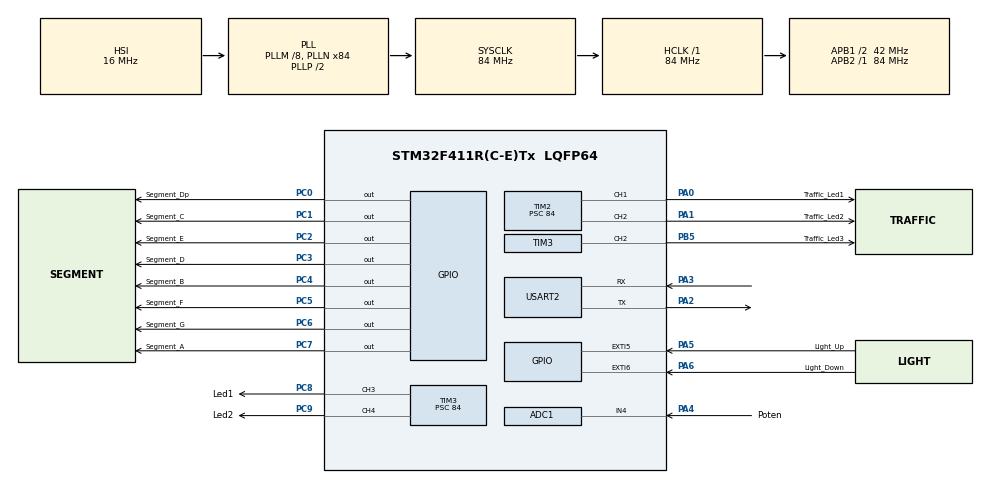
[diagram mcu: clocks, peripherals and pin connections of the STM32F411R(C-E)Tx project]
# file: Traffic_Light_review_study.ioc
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ADC1.Channel-0\#ChannelRegularConversion=ADC_CHANNEL_4
ADC1.Channel-1\#ChannelRegularConversion=ADC_CHANNEL_4
ADC1.InjNumberOfConversion=0
ADC1.NbrOfConversion=2
ADC1.NbrOfConversionFlag=1
ADC1.Rank-0\#ChannelRegularConversion=1
ADC1.Rank-1\#ChannelRegularConversion=2
ADC1.SamplingTime-0\#ChannelRegularConversion=ADC_SAMPLETIME_3CYCLES
ADC1.SamplingTime-1\#ChannelRegularConversion=ADC_SAMPLETIME_3CYCLES
ADC1.master=1
Mcu.Family=STM32F4
Mcu.Name=STM32F411R(C-E)Tx
Mcu.Package=LQFP64
NVIC.ADC_IRQn=true\:0\:0\:false\:false\:true\:true\:true\:true
NVIC.EXTI9_5_IRQn=true\:0\:0\:false\:false\:true\:true\:true\:true
NVIC.PriorityGroup=NVIC_PRIORITYGROUP_4
NVIC.TIM2_IRQn=true\:0\:0\:false\:false\:true\:true\:true\:true
NVIC.TIM3_IRQn=true\:0\:0\:false\:false\:true\:true\:true\:true
PA0-WKUP.GPIO_Label=Traffic_Led1
PA0-WKUP.Signal=S_TIM2_CH1_ETR
PA1.GPIO_Label=Traffic_Led2
PA1.Signal=S_TIM2_CH2
PA2.Mode=Asynchronous
PA2.Signal=USART2_TX
PA3.Mode=Asynchronous
PA3.Signal=USART2_RX
PA4.GPIO_Label=Poten
PA4.Signal=ADCx_IN4
PA5.GPIO_Label=Light_Up
PA5.GPIO_ModeDefaultEXTI=GPIO_MODE_IT_FALLING
PA5.GPIO_PuPd=GPIO_PULLUP
PA5.Signal=GPXTI5
PA6.GPIO_Label=Light_Down
PA6.GPIO_ModeDefaultEXTI=GPIO_MODE_IT_FALLING
PA6.GPIO_PuPd=GPIO_PULLUP
PA6.Signal=GPXTI6
PA7.GPIO_Label=Illu
PA7.Signal=ADCx_IN7
PB5.GPIO_Label=Traffic_Led3
PB5.Signal=S_TIM3_CH2
PC0.GPIO_Label=Segment_Dp
PC0.Signal=GPIO_Output
PC1.GPIO_Label=Segment_C
PC1.Signal=GPIO_Output
PC2.GPIO_Label=Segment_E
PC2.Signal=GPIO_Output
PC3.GPIO_Label=Segment_D
PC3.Signal=GPIO_Output
PC4.GPIO_Label=Segment_B
PC4.GPIO_ModeDefaultOutputPP=GPIO_MODE_OUTPUT_PP
PC4.GPIO_PuPd=GPIO_NOPULL
PC4.GPIO_Speed=GPIO_SPEED_FREQ_LOW
PC4.PinState=GPIO_PIN_RESET
PC4.Signal=GPIO_Output
PC5.GPIO_Label=Segment_F
PC5.Signal=GPIO_Output
PC6.GPIO_Label=Segment_G
PC6.Signal=GPIO_Output
PC7.GPIO_Label=Segment_A
PC7.Signal=GPIO_Output
PC8.GPIO_Label=Led1
PC8.Signal=S_TIM3_CH3
PC9.GPIO_Label=Led2
PC9.Signal=S_TIM3_CH4
ProjectManager.HeapSize=0x200
ProjectManager.StackSize=0x400
ProjectManager.TargetToolchain=STM32CubeIDE
RCC.48MHZClocksFreq_Value=42000000
RCC.AHBFreq_Value=84000000
RCC.APB1CLKDivider=RCC_HCLK_DIV2
RCC.APB1Freq_Value=42000000
RCC.APB1TimFreq_Value=84000000
RCC.APB2Freq_Value=84000000
RCC.APB2TimFreq_Value=84000000
RCC.CortexFreq_Value=84000000
RCC.HCLKFreq_Value=84000000
RCC.HSE_VALUE=25000000
RCC.HSI_VALUE=16000000
RCC.LSE_VALUE=32768
RCC.PLLM=8
RCC.PLLN=84
RCC.SYSCLKFreq_VALUE=84000000
RCC.SYSCLKSource=RCC_SYSCLKSOURCE_PLLCLK
RCC.VCOOutputFreq_Value=168000000
SH.ADCx_IN4.0=ADC1_IN4,IN4
SH.ADCx_IN7.0=ADC1_IN7
SH.S_TIM2_CH1_ETR.0=TIM2_CH1,PWM Generation1 CH1
SH.S_TIM2_CH2.0=TIM2_CH2,PWM Generation2 CH2
SH.S_TIM3_CH2.0=TIM3_CH2,PWM Generation2 CH2
SH.S_TIM3_CH3.0=TIM3_CH3,PWM Generation3 CH3
SH.S_TIM3_CH4.0=TIM3_CH4,PWM Generation4 CH4
TIM2.AutoReloadPreload=TIM_AUTORELOAD_PRELOAD_ENABLE
TIM2.Channel-PWM\ Generation1\ CH1=TIM_CHANNEL_1
TIM2.Channel-PWM\ Generation2\ CH2=TIM_CHANNEL_2
TIM2.CounterMode=TIM_COUNTERMODE_UP
TIM2.Period=1000
TIM2.Prescaler=84
TIM2.Pulse-PWM\ Generation1\ CH1=500-1
TIM2.Pulse-PWM\ Generation2\ CH2=500-1
TIM3.AutoReloadPreload=TIM_AUTORELOAD_PRELOAD_ENABLE
TIM3.Channel-PWM\ Generation2\ CH2=TIM_CHANNEL_2
TIM3.Channel-PWM\ Generation3\ CH3=TIM_CHANNEL_3
TIM3.Channel-PWM\ Generation4\ CH4=TIM_CHANNEL_4
TIM3.Period=1000
TIM3.Prescaler=84
TIM3.Pulse-PWM\ Generation2\ CH2=500-1
TIM3.Pulse-PWM\ Generation3\ CH3=500-1
TIM3.Pulse-PWM\ Generation4\ CH4=500-1
USART2.VirtualMode=VM_ASYNC
VP_TIM2_VS_ClockSourceINT.Mode=Internal
VP_TIM3_VS_ClockSourceINT.Mode=Internal
board=custom

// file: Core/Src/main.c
/* USER CODE BEGIN Header */
/**
  ******************************************************************************
  * @file           : main.c
  * @brief          : Main program body
  ******************************************************************************
  * @attention
  *
  * Copyright (c) 2025 STMicroelectronics.
  * All rights reserved.
  *
  * This software is licensed under terms that can be found in the LICENSE file
  * in the root directory of this software component.
  * If no LICENSE file comes with this software, it is provided AS-IS.
  *
  ******************************************************************************
  */
/* USER CODE END Header */
#include "main.h"

/* USER CODE BEGIN Includes */
#include <stdio.h>
/* USER CODE END Includes */

/* USER CODE BEGIN PD */
#ifdef __GNUC__
/* With GCC, small printf (option LD Linker->Libraries->Small printf
   set to 'Yes') calls __io_putchar() */
#define PUTCHAR_PROTOTYPE int __io_putchar(int ch)
#else
#define PUTCHAR_PROTOTYPE int fputc(int ch, FILE *f)
#endif /* __GNUC__ */
/* USER CODE END PD */

ADC_HandleTypeDef hadc1;

TIM_HandleTypeDef htim2;
TIM_HandleTypeDef htim3;

UART_HandleTypeDef huart2;

/* USER CODE BEGIN PV */
volatile unsigned int time3Cnt = 0;
volatile unsigned int time2Cnt = 0;
volatile uint8_t stateFlag = 0;
volatile uint8_t SegmentFlag = 10;
volatile uint8_t resetSegmentFlag = 0;
volatile uint8_t btn_flag = 0;

uint32_t pulse = 1000;
/* USER CODE END PV */

void SystemClock_Config(void);
static void MX_GPIO_Init(void);
static void MX_ADC1_Init(void);
static void MX_TIM2_Init(void);
static void MX_TIM3_Init(void);
static void MX_USART2_UART_Init(void);

int main(void)
{

  /* MCU Configuration--------------------------------------------------------*/

  /* Reset of all peripherals, Initializes the Flash interface and the Systick. */
  HAL_Init();

  /* Configure the system clock */
  SystemClock_Config();

  /* Initialize all configured peripherals */
  MX_GPIO_Init();
  MX_ADC1_Init();
  MX_TIM2_Init();
  MX_TIM3_Init();
  MX_USART2_UART_Init();
  /* USER CODE BEGIN 2 */
  if(HAL_TIM_Base_Start_IT(&htim2) != HAL_OK)
      Error_Handler();
  if(HAL_TIM_Base_Start_IT(&htim3) != HAL_OK)
    Error_Handler();

  HAL_TIM_PWM_Start(&htim2, TIM_CHANNEL_1);
  HAL_TIM_PWM_Start(&htim2, TIM_CHANNEL_2);
  HAL_TIM_PWM_Start(&htim3, TIM_CHANNEL_2);
  HAL_TIM_PWM_Start(&htim3, TIM_CHANNEL_3);
  HAL_TIM_PWM_Start(&htim3, TIM_CHANNEL_4);

  HAL_ADC_Start_IT(&hadc1);

  printf("Start main()!!\r\n");

  /* USER CODE END 2 */

  /* Infinite loop */
  while (1)
  {

    /* USER CODE BEGIN 3 */
	  switch(stateFlag)
	  {
	  	  case 1: // 0~19s: 교통 Green ON, 보행자 Red ON
	  		  __HAL_TIM_SetCompare(&htim2, TIM_CHANNEL_1, pulse); // Green ON
	  		  __HAL_TIM_SetCompare(&htim2, TIM_CHANNEL_2, 0);   // Yellow OFF
	  		  __HAL_TIM_SetCompare(&htim3, TIM_CHANNEL_2, 0);   // Traffic Red OFF
	  		  __HAL_TIM_SetCompare(&htim3, TIM_CHANNEL_3, 0);   // Ped Green OFF
	  		  __HAL_TIM_SetCompare(&htim3, TIM_CHANNEL_4, pulse); // Ped Red ON
	          break;

	  	  case 2: // 19~20s: 교통 Green OFF, Yellow ON
	  		  __HAL_TIM_SetCompare(&htim2, TIM_CHANNEL_1, 0);   // Green OFF
	  		  __HAL_TIM_SetCompare(&htim2, TIM_CHANNEL_2, pulse); // Yellow ON
	  		  break;

	      case 3: // 20~27s: 교통 Red ON, 보행자 Green ON
	    	  __HAL_TIM_SetCompare(&htim2, TIM_CHANNEL_2, 0);   // Yellow OFF
	    	  __HAL_TIM_SetCompare(&htim3, TIM_CHANNEL_2, pulse); // Traffic Red ON
	    	  __HAL_TIM_SetCompare(&htim3, TIM_CHANNEL_3, pulse); // Ped Green ON
	    	  __HAL_TIM_SetCompare(&htim3, TIM_CHANNEL_4, 0);   // Ped Red OFF
	    	  break;

	      case 4: // 27~30s: 보행자 Green 점멸
	          if((time3Cnt % 1000) < 500)
	        	  __HAL_TIM_SetCompare(&htim3, TIM_CHANNEL_3, pulse); // ON
	          else
	        	  __HAL_TIM_SetCompare(&htim3, TIM_CHANNEL_3, 0);   // OFF
	              break;

	      case 5: // 30s: 초기 상태로 복귀
	    	  __HAL_TIM_SetCompare(&htim3, TIM_CHANNEL_3, 0);   // Ped Green OFF
	    	  __HAL_TIM_SetCompare(&htim3, TIM_CHANNEL_4, pulse); // Ped Red ON
	    	  __HAL_TIM_SetCompare(&htim3, TIM_CHANNEL_2, 0);   // Traffic Red OFF
	    	  __HAL_TIM_SetCompare(&htim2, TIM_CHANNEL_1, pulse); // Traffic Green ON
	          break;
	  }
	  switch(btn_flag)
	  {
	  	  case 1:
	  		if(pulse <= 900)
	  		{
	  			pulse += 100;   // 최대값 제한 필요하면 추가
	  			printf("btn2_pulse : %d\r\n\n",pulse);
	  			btn_flag = 0;  // 플래그 클리어
	  		}
	  		break;
	  	  case 2:
	  		if (pulse >= 100)
	  		{
	  			pulse -= 100;  // 음수 방지
	  			printf("btn1_pulse : %d\r\n\n",pulse);
	  			btn_flag = 0;  // 플래그 클리어
	  		}
	  		break;
	  }
	  if(resetSegmentFlag)
	  {
		  HAL_GPIO_WritePin(GPIOC, Segment_Dp_Pin|Segment_C_Pin|Segment_E_Pin|Segment_D_Pin
		                            |Segment_B_Pin|Segment_F_Pin|Segment_G_Pin|Segment_A_Pin, GPIO_PIN_RESET);
		  resetSegmentFlag = 0;
	  }
	  switch(SegmentFlag)
	  {
	  	  case 1:
	  		  HAL_GPIO_WritePin(GPIOC, Segment_C_Pin|Segment_B_Pin, GPIO_PIN_SET);
	  		  break;
	  	  case 2:
	  		  HAL_GPIO_WritePin(GPIOC, Segment_A_Pin|Segment_B_Pin|Segment_G_Pin|Segment_E_Pin|Segment_D_Pin, GPIO_PIN_SET);
	  		  break;
	  	  case 3:
	  		  HAL_GPIO_WritePin(GPIOC, Segment_A_Pin|Segment_B_Pin|Segment_G_Pin|Segment_C_Pin|Segment_D_Pin, GPIO_PIN_SET);
	  		  break;
	  	  case 4:
	  		  HAL_GPIO_WritePin(GPIOC, Segment_F_Pin|Segment_B_Pin|Segment_G_Pin|Segment_C_Pin, GPIO_PIN_SET);
	  		  break;
	  	  case 5:
	  		  HAL_GPIO_WritePin(GPIOC, Segment_A_Pin|Segment_F_Pin|Segment_G_Pin|Segment_C_Pin|Segment_D_Pin, GPIO_PIN_SET);
	  		  break;
	  	  case 6:
	  		  HAL_GPIO_WritePin(GPIOC, Segment_A_Pin|Segment_F_Pin|Segment_G_Pin|Segment_E_Pin|Segment_C_Pin|Segment_D_Pin, GPIO_PIN_SET);
	  		  break;
	  	  case 7:
	  		  HAL_GPIO_WritePin(GPIOC, Segment_F_Pin|Segment_A_Pin|Segment_B_Pin|Segment_C_Pin, GPIO_PIN_SET);
	  		  break;
	  	  case 8:
	  		  HAL_GPIO_WritePin(GPIOC, Segment_A_Pin|Segment_B_Pin|Segment_G_Pin|Segment_F_Pin|Segment_E_Pin|Segment_C_Pin|Segment_D_Pin, GPIO_PIN_SET);
	  		  break;
	  	  case 9:
	  		  HAL_GPIO_WritePin(GPIOC, Segment_A_Pin|Segment_B_Pin|Segment_G_Pin|Segment_F_Pin|Segment_C_Pin|Segment_D_Pin, GPIO_PIN_SET);
	  		  break;
	  	  case 10:
	  		  HAL_GPIO_WritePin(GPIOC, Segment_A_Pin|Segment_B_Pin|Segment_F_Pin|Segment_E_Pin|Segment_C_Pin|Segment_D_Pin, GPIO_PIN_SET);
	  		  break;

	  }

  }
  /* USER CODE END 3 */
}

void SystemClock_Config(void)
{
  RCC_OscInitTypeDef RCC_OscInitStruct = {0};
  RCC_ClkInitTypeDef RCC_ClkInitStruct = {0};

  /** Configure the main internal regulator output voltage
  */
  __HAL_RCC_PWR_CLK_ENABLE();
  __HAL_PWR_VOLTAGESCALING_CONFIG(PWR_REGULATOR_VOLTAGE_SCALE1);

  /** Initializes the RCC Oscillators according to the specified parameters
  * in the RCC_OscInitTypeDef structure.
  */
  RCC_OscInitStruct.OscillatorType = RCC_OSCILLATORTYPE_HSI;
  RCC_OscInitStruct.HSIState = RCC_HSI_ON;
  RCC_OscInitStruct.HSICalibrationValue = RCC_HSICALIBRATION_DEFAULT;
  RCC_OscInitStruct.PLL.PLLState = RCC_PLL_ON;
  RCC_OscInitStruct.PLL.PLLSource = RCC_PLLSOURCE_HSI;
  RCC_OscInitStruct.PLL.PLLM = 8;
  RCC_OscInitStruct.PLL.PLLN = 84;
  RCC_OscInitStruct.PLL.PLLP = RCC_PLLP_DIV2;
  RCC_OscInitStruct.PLL.PLLQ = 4;
  if (HAL_RCC_OscConfig(&RCC_OscInitStruct) != HAL_OK)
  {
    Error_Handler();
  }

  /** Initializes the CPU, AHB and APB buses clocks
  */
  RCC_ClkInitStruct.ClockType = RCC_CLOCKTYPE_HCLK|RCC_CLOCKTYPE_SYSCLK
                              |RCC_CLOCKTYPE_PCLK1|RCC_CLOCKTYPE_PCLK2;
  RCC_ClkInitStruct.SYSCLKSource = RCC_SYSCLKSOURCE_PLLCLK;
  RCC_ClkInitStruct.AHBCLKDivider = RCC_SYSCLK_DIV1;
  RCC_ClkInitStruct.APB1CLKDivider = RCC_HCLK_DIV2;
  RCC_ClkInitStruct.APB2CLKDivider = RCC_HCLK_DIV1;

  if (HAL_RCC_ClockConfig(&RCC_ClkInitStruct, FLASH_LATENCY_2) != HAL_OK)
  {
    Error_Handler();
  }
}

static void MX_ADC1_Init(void)
{

  ADC_ChannelConfTypeDef sConfig = {0};

  /** Configure the global features of the ADC (Clock, Resolution, Data Alignment and number of conversion)
  */
  hadc1.Instance = ADC1;
  hadc1.Init.ClockPrescaler = ADC_CLOCK_SYNC_PCLK_DIV4;
  hadc1.Init.Resolution = ADC_RESOLUTION_12B;
  hadc1.Init.ScanConvMode = ENABLE;
  hadc1.Init.ContinuousConvMode = DISABLE;
  hadc1.Init.DiscontinuousConvMode = DISABLE;
  hadc1.Init.ExternalTrigConvEdge = ADC_EXTERNALTRIGCONVEDGE_NONE;
  hadc1.Init.ExternalTrigConv = ADC_SOFTWARE_START;
  hadc1.Init.DataAlign = ADC_DATAALIGN_RIGHT;
  hadc1.Init.NbrOfConversion = 2;
  hadc1.Init.DMAContinuousRequests = DISABLE;
  hadc1.Init.EOCSelection = ADC_EOC_SINGLE_CONV;
  if (HAL_ADC_Init(&hadc1) != HAL_OK)
  {
    Error_Handler();
  }

  /** Configure for the selected ADC regular channel its corresponding rank in the sequencer and its sample time.
  */
  sConfig.Channel = ADC_CHANNEL_4;
  sConfig.Rank = 1;
  sConfig.SamplingTime = ADC_SAMPLETIME_3CYCLES;
  if (HAL_ADC_ConfigChannel(&hadc1, &sConfig) != HAL_OK)
  {
    Error_Handler();
  }

  /** Configure for the selected ADC regular channel its corresponding rank in the sequencer and its sample time.
  */
  sConfig.Rank = 2;
  if (HAL_ADC_ConfigChannel(&hadc1, &sConfig) != HAL_OK)
  {
    Error_Handler();
  }

}

static void MX_TIM2_Init(void)
{

  TIM_ClockConfigTypeDef sClockSourceConfig = {0};
  TIM_MasterConfigTypeDef sMasterConfig = {0};
  TIM_OC_InitTypeDef sConfigOC = {0};

  htim2.Instance = TIM2;
  htim2.Init.Prescaler = 84;
  htim2.Init.CounterMode = TIM_COUNTERMODE_UP;
  htim2.Init.Period = 1000;
  htim2.Init.ClockDivision = TIM_CLOCKDIVISION_DIV1;
  htim2.Init.AutoReloadPreload = TIM_AUTORELOAD_PRELOAD_ENABLE;
  if (HAL_TIM_Base_Init(&htim2) != HAL_OK)
  {
    Error_Handler();
  }
  sClockSourceConfig.ClockSource = TIM_CLOCKSOURCE_INTERNAL;
  if (HAL_TIM_ConfigClockSource(&htim2, &sClockSourceConfig) != HAL_OK)
  {
    Error_Handler();
  }
  if (HAL_TIM_PWM_Init(&htim2) != HAL_OK)
  {
    Error_Handler();
  }
  sMasterConfig.MasterOutputTrigger = TIM_TRGO_RESET;
  sMasterConfig.MasterSlaveMode = TIM_MASTERSLAVEMODE_DISABLE;
  if (HAL_TIMEx_MasterConfigSynchronization(&htim2, &sMasterConfig) != HAL_OK)
  {
    Error_Handler();
  }
  sConfigOC.OCMode = TIM_OCMODE_PWM1;
  sConfigOC.Pulse = 500-1;
  sConfigOC.OCPolarity = TIM_OCPOLARITY_HIGH;
  sConfigOC.OCFastMode = TIM_OCFAST_DISABLE;
  if (HAL_TIM_PWM_ConfigChannel(&htim2, &sConfigOC, TIM_CHANNEL_1) != HAL_OK)
  {
    Error_Handler();
  }
  if (HAL_TIM_PWM_ConfigChannel(&htim2, &sConfigOC, TIM_CHANNEL_2) != HAL_OK)
  {
    Error_Handler();
  }
  HAL_TIM_MspPostInit(&htim2);

}

static void MX_TIM3_Init(void)
{

  TIM_ClockConfigTypeDef sClockSourceConfig = {0};
  TIM_MasterConfigTypeDef sMasterConfig = {0};
  TIM_OC_InitTypeDef sConfigOC = {0};

  htim3.Instance = TIM3;
  htim3.Init.Prescaler = 84;
  htim3.Init.CounterMode = TIM_COUNTERMODE_UP;
  htim3.Init.Period = 1000;
  htim3.Init.ClockDivision = TIM_CLOCKDIVISION_DIV1;
  htim3.Init.AutoReloadPreload = TIM_AUTORELOAD_PRELOAD_ENABLE;
  if (HAL_TIM_Base_Init(&htim3) != HAL_OK)
  {
    Error_Handler();
  }
  sClockSourceConfig.ClockSource = TIM_CLOCKSOURCE_INTERNAL;
  if (HAL_TIM_ConfigClockSource(&htim3, &sClockSourceConfig) != HAL_OK)
  {
    Error_Handler();
  }
  if (HAL_TIM_PWM_Init(&htim3) != HAL_OK)
  {
    Error_Handler();
  }
  sMasterConfig.MasterOutputTrigger = TIM_TRGO_RESET;
  sMasterConfig.MasterSlaveMode = TIM_MASTERSLAVEMODE_DISABLE;
  if (HAL_TIMEx_MasterConfigSynchronization(&htim3, &sMasterConfig) != HAL_OK)
  {
    Error_Handler();
  }
  sConfigOC.OCMode = TIM_OCMODE_PWM1;
  sConfigOC.Pulse = 500-1;
  sConfigOC.OCPolarity = TIM_OCPOLARITY_HIGH;
  sConfigOC.OCFastMode = TIM_OCFAST_DISABLE;
  if (HAL_TIM_PWM_ConfigChannel(&htim3, &sConfigOC, TIM_CHANNEL_2) != HAL_OK)
  {
    Error_Handler();
  }
  if (HAL_TIM_PWM_ConfigChannel(&htim3, &sConfigOC, TIM_CHANNEL_3) != HAL_OK)
  {
    Error_Handler();
  }
  if (HAL_TIM_PWM_ConfigChannel(&htim3, &sConfigOC, TIM_CHANNEL_4) != HAL_OK)
  {
    Error_Handler();
  }
  HAL_TIM_MspPostInit(&htim3);

}

static void MX_USART2_UART_Init(void)
{

  huart2.Instance = USART2;
  huart2.Init.BaudRate = 115200;
  huart2.Init.WordLength = UART_WORDLENGTH_8B;
  huart2.Init.StopBits = UART_STOPBITS_1;
  huart2.Init.Parity = UART_PARITY_NONE;
  huart2.Init.Mode = UART_MODE_TX_RX;
  huart2.Init.HwFlowCtl = UART_HWCONTROL_NONE;
  huart2.Init.OverSampling = UART_OVERSAMPLING_16;
  if (HAL_UART_Init(&huart2) != HAL_OK)
  {
    Error_Handler();
  }

}

static void MX_GPIO_Init(void)
{
  GPIO_InitTypeDef GPIO_InitStruct = {0};

  /* GPIO Ports Clock Enable */
  __HAL_RCC_GPIOC_CLK_ENABLE();
  __HAL_RCC_GPIOA_CLK_ENABLE();
  __HAL_RCC_GPIOB_CLK_ENABLE();

  /*Configure GPIO pin Output Level */
  HAL_GPIO_WritePin(GPIOC, Segment_Dp_Pin|Segment_C_Pin|Segment_E_Pin|Segment_D_Pin
                          |Segment_B_Pin|Segment_F_Pin|Segment_G_Pin|Segment_A_Pin, GPIO_PIN_RESET);

  /*Configure GPIO pins : Segment_Dp_Pin Segment_C_Pin Segment_E_Pin Segment_D_Pin
                           Segment_B_Pin Segment_F_Pin Segment_G_Pin Segment_A_Pin */
  GPIO_InitStruct.Pin = Segment_Dp_Pin|Segment_C_Pin|Segment_E_Pin|Segment_D_Pin
                          |Segment_B_Pin|Segment_F_Pin|Segment_G_Pin|Segment_A_Pin;
  GPIO_InitStruct.Mode = GPIO_MODE_OUTPUT_PP;
  GPIO_InitStruct.Pull = GPIO_NOPULL;
  GPIO_InitStruct.Speed = GPIO_SPEED_FREQ_LOW;
  HAL_GPIO_Init(GPIOC, &GPIO_InitStruct);

  /*Configure GPIO pins : Light_Up_Pin Light_Down_Pin */
  GPIO_InitStruct.Pin = Light_Up_Pin|Light_Down_Pin;
  GPIO_InitStruct.Mode = GPIO_MODE_IT_FALLING;
  GPIO_InitStruct.Pull = GPIO_PULLUP;
  HAL_GPIO_Init(GPIOA, &GPIO_InitStruct);

  /* EXTI interrupt init*/
  HAL_NVIC_SetPriority(EXTI9_5_IRQn, 0, 0);
  HAL_NVIC_EnableIRQ(EXTI9_5_IRQn);

}

/* USER CODE BEGIN 4 */
PUTCHAR_PROTOTYPE
{
  /* Place your implementation of fputc here */
  /* e.g. write a character to the USART6 and Loop until the end of transmission */
  HAL_UART_Transmit(&huart2, (uint8_t *)&ch, 1, 0xFFFF);

  return ch;
}

void HAL_TIM_PeriodElapsedCallback(TIM_HandleTypeDef *htim)
{

	if(htim->Instance == TIM3)
	    {
	        time3Cnt++;

	        if(time3Cnt <= 19000-1) // 0 ~ 19Sec
	            stateFlag = 1;
	        else if(time3Cnt >= 19000-1 && time3Cnt <= 20000-1) // 19 ~ 20Sec
	            stateFlag = 2;
	        else if(time3Cnt >= 20000-1 && time3Cnt <= 27000-1) // 20 ~ 27Sec
	            stateFlag = 3;
	        else if(time3Cnt >= 27000-1 && time3Cnt <= 30000-1) // 27 ~ 30Sec
	            stateFlag = 4;
	        else if(time3Cnt >= 30000-1)
	        {
	            time3Cnt = 0;
	            stateFlag = 5;
	        }
	    }
	else if(htim->Instance == TIM2)
	{
		time2Cnt++;
		if(time2Cnt >= 1000)
		{
			time2Cnt = 0;
			SegmentFlag--;
			resetSegmentFlag = 1;
			if(SegmentFlag < 1) SegmentFlag = 10;
		}
	}
}

void HAL_GPIO_EXTI_Callback(uint16_t GPIO_Pin)
{
    if (GPIO_Pin == Light_Up_Pin) {
        btn_flag = 1;   // 버튼1 눌림
    }
    else if (GPIO_Pin == Light_Down_Pin) {
        btn_flag = 2;   // 버튼2 눌림
    }
}

void HAL_ADC_ConvCpltCallback(ADC_HandleTypeDef* hadc)
{
    if(hadc->Instance == ADC1)
    {
        uint32_t adc_val = HAL_ADC_GetValue(hadc);
        pulse = (adc_val * (1000 - 100) / 4095) + 100;
    }
}
/* USER CODE END 4 */

void Error_Handler(void)
{
  __disable_irq();
  while (1)
  {
  }
}
